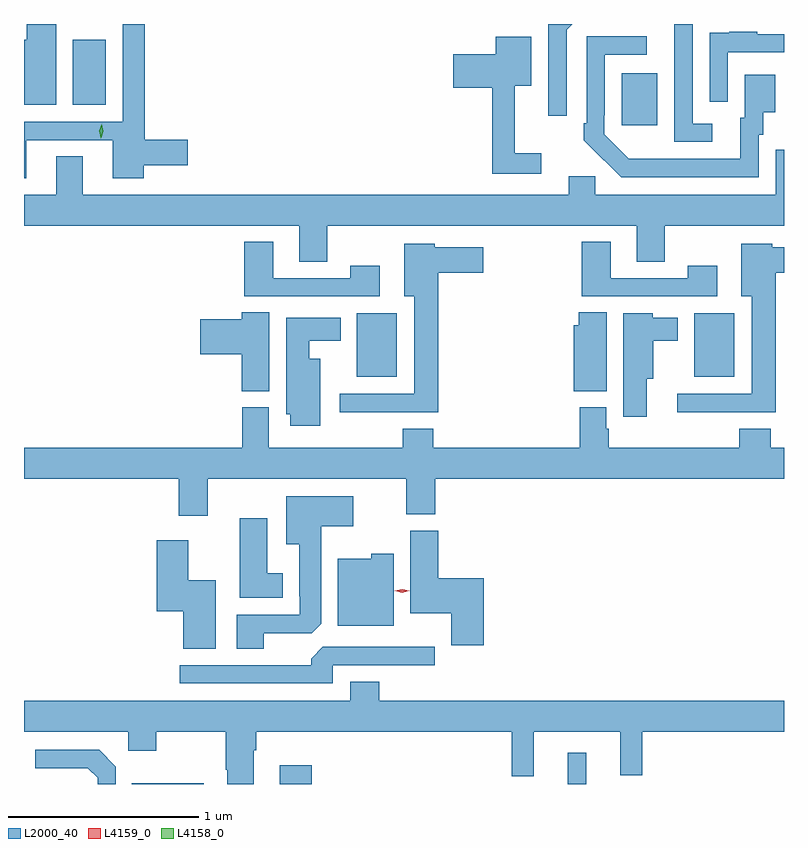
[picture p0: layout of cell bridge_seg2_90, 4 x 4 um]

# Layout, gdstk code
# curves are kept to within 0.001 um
import gdstk
lib = gdstk.Library(unit=1e-6, precision=1e-09)
def R(c, l, rs):  # rectangles x0, y0, x1, y1
    for r in rs: c.add(gdstk.rectangle(r[:2], r[2:], *l))
def P(c, l, *ps):  # polygons
    for p in ps: c.add(gdstk.Polygon(p, *l))
L2000_40 = (2000, 40)
L4158_0 = (4158, 0)
L4159_0 = (4159, 0)

bridge_seg2_90 = lib.new_cell('bridge_seg2_90')
R(bridge_seg2_90, L2000_40, [(323.503,643.366,323.881,643.369), (324.281,643.366,324.449,643.465), (325.796,643.366,325.893,643.531), (324.686,645.509,324.898,645.844), (326.462,645.509,326.674,645.844), (326.081,646.833,326.269,647.107), (323.192,646.94,323.365,647.284)])
P(bridge_seg2_90, L2000_40, [(322.948,646.755),(323.402,646.755),(323.402,646.554),(323.564,646.554),(323.564,646.622),(323.797,646.622),(323.797,646.757),(323.57,646.757),(323.57,647.366),(323.454,647.366),(323.454,646.851),(322.935,646.851),(322.935,646.554),(322.948,646.554)],
  [(326.557,646.842),(326.454,646.842),(326.454,647.366),(326.357,647.366),(326.357,647.203),(326.358,647.203),(326.358,646.746),(326.557,646.746)],
  [(325.791,647.337),(325.82,647.366),(325.695,647.366),(325.695,646.884),(325.791,646.884)],
  [(323.104,647.366),(322.949,647.366),(322.949,647.284),(322.935,647.284),(322.935,646.94),(323.104,646.94)],
  [(326.64,647.217),(326.935,647.217),(326.935,647.313),(326.795,647.313),(326.795,647.326),(326.647,647.326),(326.647,647.319),(326.545,647.319),(326.545,647.21),(326.544,647.21),(326.544,646.956),(326.64,646.956)],
  [(326.802,646.782),(326.827,646.782),(326.827,646.901),(326.89,646.901),(326.89,647.098),(326.729,647.098),(326.729,646.872),(326.705,646.872),(326.705,646.656),(326.118,646.657),(325.989,646.785),(325.989,646.885),(325.992,646.885),(325.992,647.205),(326.212,647.205),(326.212,647.301),(325.896,647.301),(325.896,646.843),(325.881,646.843),(325.881,646.755),(326.078,646.56),(326.802,646.56)],
  [(325.657,646.687),(325.517,646.687),(325.517,647.042),(325.606,647.042),(325.606,647.299),(325.418,647.299),(325.418,647.208),(325.194,647.208),(325.194,647.03),(325.399,647.03),(325.399,646.578),(325.657,646.578)],
  [(323.245,646.67),(323.105,646.67),(323.105,646.468),(322.935,646.468),(322.935,646.304),(324.383,646.304),(324.383,646.114),(324.531,646.114),(324.531,646.304),(326.159,646.304),(326.159,646.114),(326.307,646.114),(326.307,646.304),(326.935,646.304),(326.935,646.704),(326.891,646.704),(326.891,646.468),(325.941,646.468),(325.941,646.566),(325.802,646.566),(325.802,646.468),(323.245,646.468)],
  [(326.584,646.093),(326.428,646.093),(326.428,646.029),(326.023,646.029),(326.023,646.219),(325.871,646.219),(325.871,645.933),(326.584,645.933)],
  [(324.808,646.093),(324.652,646.093),(324.652,646.029),(324.247,646.029),(324.247,646.219),(324.095,646.219),(324.095,645.933),(324.808,645.933)],
  [(325.115,646.058),(325.351,646.058),(325.351,646.192),(325.098,646.192),(325.098,646.21),(324.935,646.21),(324.935,645.932),(324.989,645.932),(324.989,645.42),(324.597,645.42),(324.597,645.323),(325.115,645.323)],
  [(326.891,646.058),(326.935,646.058),(326.935,646.192),(326.874,646.192),(326.874,646.21),(326.711,646.21),(326.711,645.932),(326.765,645.932),(326.765,645.42),(326.373,645.42),(326.373,645.323),(326.891,645.323)],
  [(324.226,645.848),(324.08,645.848),(324.08,645.812),(323.862,645.812),(323.862,645.629),(324.08,645.629),(324.08,645.433),(324.226,645.433)],
  [(326.002,645.848),(325.856,645.848),(325.856,645.781),(325.829,645.781),(325.829,645.434),(326.002,645.434)],
  [(326.212,645.5),(326.248,645.5),(326.248,645.698),(326.377,645.698),(326.377,645.82),(326.244,645.82),(326.244,645.844),(326.09,645.844),(326.09,645.3),(326.212,645.3)],
  [(324.493,645.604),(324.436,645.604),(324.436,645.698),(324.601,645.698),(324.601,645.82),(324.314,645.82),(324.314,645.312),(324.335,645.312),(324.335,645.252),(324.493,645.252)],
  [(325.859,645.349),(325.859,645.136),(325.088,645.136),(325.088,645.235),(324.928,645.235),(324.928,645.136),(324.223,645.136),(324.223,645.348),(324.083,645.348),(324.083,645.136),(322.935,645.136),(322.935,644.972),(323.75,644.972),(323.75,644.778),(323.902,644.778),(323.902,644.972),(324.947,644.972),(324.947,644.785),(325.1,644.785),(325.1,644.972),(326.935,644.972),(326.935,645.136),(326.864,645.136),(326.864,645.235),(326.699,645.235),(326.699,645.136),(326.012,645.136),(326.012,645.237),(325.999,645.237),(325.999,645.349)],
  [(324.196,644.16),(324.45,644.16),(324.499,644.209),(324.499,644.723),(324.667,644.723),(324.667,644.881),(324.314,644.881),(324.314,644.627),(324.383,644.627),(324.383,644.353),(324.387,644.353),(324.387,644.256),(324.056,644.256),(324.056,644.077),(324.196,644.077)],
  [(324.298,644.476),(324.214,644.476),(324.214,644.764),(324.071,644.764),(324.071,644.345),(324.298,644.345)],
  [(325.355,644.449),(325.115,644.449),(325.115,644.7),(324.968,644.7),(324.968,644.264),(325.184,644.264),(325.184,644.097),(325.355,644.097)],
  [(323.944,644.439),(323.8,644.439),(323.8,644.65),(323.633,644.65),(323.633,644.276),(323.774,644.276),(323.774,644.079),(323.944,644.079)],
  [(324.88,644.578),(324.762,644.578),(324.762,644.551),(324.587,644.551),(324.587,644.198),(324.88,644.198)],
  [(324.561,643.992),(325.096,643.992),(325.096,644.088),(324.507,644.088),(324.446,644.026),(324.446,643.992),(323.754,643.992),(323.754,643.896),(324.561,643.896)],
  [(324.145,643.544),(324.158,643.544),(324.158,643.64),(325.501,643.64),(325.501,643.407),(325.619,643.407),(325.619,643.64),(326.072,643.64),(326.072,643.412),(326.189,643.412),(326.189,643.64),(326.935,643.64),(326.935,643.804),(324.806,643.804),(324.806,643.903),(324.653,643.903),(324.653,643.804),(322.935,643.804),(322.935,643.64),(323.484,643.64),(323.484,643.541),(323.631,643.541),(323.631,643.64),(323.998,643.64),(323.998,643.441),(324.005,643.441),(324.005,643.366),(324.145,643.366)],
  [(323.418,643.458),(323.331,643.545),(322.995,643.545),(322.995,643.449),(323.271,643.449),(323.322,643.398),(323.322,643.366),(323.418,643.366)])
P(bridge_seg2_90, L4158_0, [(323.34,646.766),(323.34,646.767),(323.332,646.803),(323.344,646.838),(323.344,646.838),(323.344,646.838),(323.352,646.802),(323.341,646.767)])
P(bridge_seg2_90, L4159_0, [(324.925,644.372),(324.887,644.382),(324.887,644.382),(324.887,644.382),(324.925,644.392),(324.963,644.382),(324.963,644.382),(324.963,644.382)])

lib.write_gds('bridge_seg2_90.gds')
